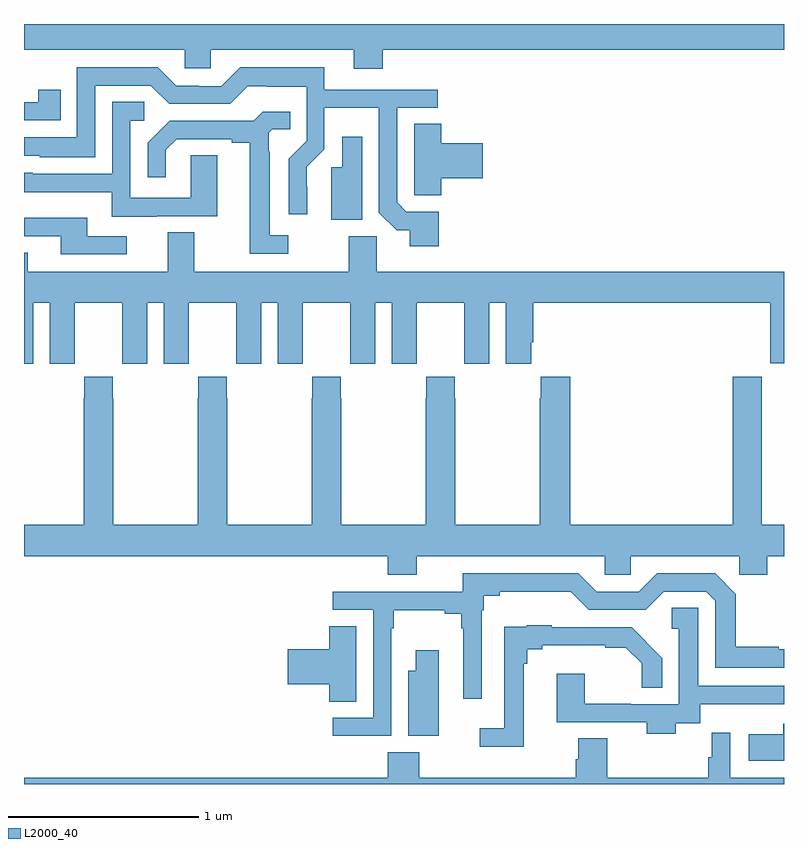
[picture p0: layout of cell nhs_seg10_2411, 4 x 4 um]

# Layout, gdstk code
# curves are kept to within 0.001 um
import gdstk
lib = gdstk.Library(unit=1e-6, precision=1e-09)
def P(c, l, *ps):  # polygons
    for p in ps: c.add(gdstk.Polygon(p, *l))
L2000_40 = (2000, 40)

nhs_seg10_2411 = lib.new_cell('nhs_seg10_2411')
P(nhs_seg10_2411, L2000_40, [(242.888,1252.364),(245,1252.364),(245,1252.5),(241,1252.5),(241,1252.364),(241.845,1252.364),(241.845,1252.266),(241.983,1252.266),(241.983,1252.364),(242.735,1252.364),(242.735,1252.265),(242.888,1252.265)],
  [(243.182,1251.513),(243.012,1251.513),(242.964,1251.561),(242.964,1252.059),(243.178,1252.059),(243.178,1252.155),(242.581,1252.155),(242.581,1252.273),(242.137,1252.273),(242.037,1252.173),(241.92,1252.173),(241.92,1252.176),(241.8,1252.176),(241.704,1252.272),(241.278,1252.272),(241.278,1251.903),(241,1251.903),(241,1251.807),(241.083,1251.807),(241.083,1251.8),(241.374,1251.8),(241.374,1252.176),(241.668,1252.176),(241.764,1252.08),(242.085,1252.08),(242.178,1252.173),(242.278,1252.173),(242.278,1252.169),(242.487,1252.169),(242.487,1251.885),(242.394,1251.792),(242.394,1251.498),(242.49,1251.498),(242.489,1251.75),(242.58,1251.842),(242.58,1252.058),(242.868,1252.058),(242.868,1251.507),(242.961,1251.415),(243.029,1251.415),(243.029,1251.33),(243.182,1251.33)],
  [(241.193,1252.153),(241.075,1252.153),(241.075,1252.089),(241,1252.089),(241,1251.993),(241.193,1251.993)],
  [(241.699,1251.489),(242.017,1251.489),(242.017,1251.809),(241.878,1251.809),(241.878,1251.585),(241.56,1251.585),(241.56,1251.99),(241.633,1251.99),(241.633,1252.091),(241.464,1252.091),(241.464,1251.711),(241.047,1251.711),(241.047,1251.717),(241,1251.717),(241,1251.614),(241.463,1251.614),(241.463,1251.485),(241.699,1251.485)],
  [(242.392,1251.387),(242.293,1251.387),(242.293,1251.827),(242.289,1251.827),(242.289,1251.927),(242.307,1251.945),(242.402,1251.945),(242.402,1252.037),(242.256,1252.037),(242.208,1251.99),(241.766,1251.99),(241.65,1251.874),(241.65,1251.693),(241.747,1251.693),(241.747,1251.837),(241.804,1251.894),(242.093,1251.894),(242.093,1251.874),(242.189,1251.874),(242.189,1251.291),(242.392,1251.291)],
  [(243.197,1251.689),(243.415,1251.689),(243.415,1251.872),(243.197,1251.872),(243.197,1251.974),(243.053,1251.974),(243.053,1251.706),(243.054,1251.706),(243.054,1251.598),(243.197,1251.598)],
  [(242.779,1251.907),(242.675,1251.907),(242.675,1251.747),(242.618,1251.747),(242.618,1251.469),(242.779,1251.469)],
  [(241.54,1251.384),(241.333,1251.384),(241.333,1251.481),(241,1251.481),(241,1251.384),(241.193,1251.384),(241.193,1251.288),(241.54,1251.288)],
  [(241.048,1251.032),(241.136,1251.032),(241.136,1250.712),(241.266,1250.712),(241.266,1250.824),(241.267,1250.824),(241.267,1251.032),(241.517,1251.032),(241.517,1250.824),(241.518,1250.824),(241.518,1250.712),(241.648,1250.712),(241.648,1251.032),(241.736,1251.032),(241.736,1250.712),(241.866,1250.712),(241.866,1250.824),(241.867,1250.824),(241.867,1251.032),(242.117,1251.032),(242.117,1250.824),(242.118,1250.824),(242.118,1250.712),(242.248,1250.712),(242.248,1251.032),(242.336,1251.032),(242.336,1250.712),(242.466,1250.712),(242.466,1250.824),(242.467,1250.824),(242.467,1251.032),(242.717,1251.032),(242.717,1250.824),(242.718,1250.824),(242.718,1250.712),(242.848,1250.712),(242.848,1251.032),(242.936,1251.032),(242.936,1250.712),(243.066,1250.712),(243.066,1250.824),(243.067,1250.824),(243.067,1251.032),(243.317,1251.032),(243.317,1250.824),(243.318,1250.824),(243.318,1250.712),(243.448,1250.712),(243.448,1251.032),(243.536,1251.032),(243.536,1250.712),(243.67,1250.712),(243.67,1250.824),(243.68,1250.824),(243.68,1251.032),(244.928,1251.032),(244.928,1250.715),(245,1250.715),(245,1251.196),(242.856,1251.196),(242.856,1251.384),(242.71,1251.384),(242.71,1251.196),(241.897,1251.196),(241.897,1251.404),(241.757,1251.404),(241.757,1251.196),(241.021,1251.196),(241.021,1251.295),(241,1251.295),(241,1250.712),(241.048,1250.712)],
  [(243.067,1249.7),(244.056,1249.7),(244.056,1249.602),(244.194,1249.602),(244.194,1249.7),(244.765,1249.7),(244.765,1249.602),(244.911,1249.602),(244.911,1249.7),(245,1249.7),(245,1249.864),(244.882,1249.864),(244.882,1250.643),(244.73,1250.643),(244.73,1249.864),(243.875,1249.864),(243.875,1250.644),(243.721,1250.644),(243.721,1250.531),(243.715,1250.531),(243.715,1249.864),(243.27,1249.864),(243.27,1250.531),(243.267,1250.531),(243.267,1250.644),(243.117,1250.644),(243.117,1250.531),(243.115,1250.531),(243.115,1249.864),(242.67,1249.864),(242.67,1250.531),(242.667,1250.531),(242.667,1250.644),(242.517,1250.644),(242.517,1250.531),(242.515,1250.531),(242.515,1249.864),(242.07,1249.864),(242.07,1250.531),(242.067,1250.531),(242.067,1250.644),(241.917,1250.644),(241.917,1250.531),(241.915,1250.531),(241.915,1249.864),(241.47,1249.864),(241.47,1250.531),(241.467,1250.531),(241.467,1250.644),(241.317,1250.644),(241.317,1250.531),(241.315,1250.531),(241.315,1249.864),(241,1249.864),(241,1249.7),(242.915,1249.7),(242.915,1249.601),(243.067,1249.601)],
  [(242.934,1249.319),(242.947,1249.319),(242.947,1249.415),(243.215,1249.415),(243.215,1249.396),(243.3,1249.396),(243.3,1249.319),(243.312,1249.319),(243.312,1248.948),(243.408,1248.948),(243.408,1249.415),(243.421,1249.415),(243.421,1249.492),(243.505,1249.492),(243.505,1249.511),(243.877,1249.511),(243.972,1249.416),(244.272,1249.416),(244.368,1249.512),(244.59,1249.512),(244.638,1249.464),(244.638,1249.113),(245,1249.113),(245,1249.209),(244.973,1249.209),(244.973,1249.222),(244.747,1249.222),(244.747,1249.499),(244.638,1249.608),(244.332,1249.608),(244.236,1249.512),(244.014,1249.512),(243.918,1249.608),(243.31,1249.608),(243.31,1249.512),(242.625,1249.512),(242.625,1249.416),(242.838,1249.416),(242.838,1248.849),(242.625,1248.849),(242.625,1248.753),(242.934,1248.753)],
  [(244.429,1248.821),(244.558,1248.821),(244.558,1248.92),(244.827,1248.92),(244.827,1248.921),(245,1248.921),(245,1249.017),(244.549,1249.017),(244.549,1249.319),(244.548,1249.319),(244.548,1249.427),(244.41,1249.427),(244.41,1249.316),(244.445,1249.316),(244.445,1248.921),(244.193,1248.921),(244.193,1248.923),(243.951,1248.923),(243.951,1249.081),(243.803,1249.081),(243.803,1248.825),(244.277,1248.825),(244.277,1248.764),(244.429,1248.764)],
  [(243.631,1249.133),(243.649,1249.133),(243.649,1249.21),(243.727,1249.21),(243.727,1249.229),(244.058,1249.229),(244.058,1249.218),(244.167,1249.218),(244.251,1249.135),(244.251,1249.006),(244.36,1249.006),(244.36,1249.163),(244.276,1249.246),(244.277,1249.247),(244.198,1249.326),(243.777,1249.326),(243.777,1249.336),(243.645,1249.336),(243.645,1249.328),(243.527,1249.328),(243.527,1248.793),(243.399,1248.793),(243.399,1248.695),(243.631,1248.695)],
  [(242.749,1249.331),(242.606,1249.331),(242.606,1249.208),(242.388,1249.208),(242.388,1249.025),(242.606,1249.025),(242.606,1248.934),(242.749,1248.934)],
  [(243.184,1249.204),(243.062,1249.204),(243.062,1249.096),(243.023,1249.096),(243.023,1248.753),(243.184,1248.753)],
  [(245,1248.816),(244.997,1248.816),(244.997,1248.763),(244.815,1248.763),(244.815,1248.623),(245,1248.623)],
  [(245,1248.532),(244.716,1248.532),(244.716,1248.769),(244.619,1248.769),(244.619,1248.642),(244.6,1248.642),(244.6,1248.532),(244.07,1248.532),(244.07,1248.74),(243.917,1248.74),(243.917,1248.63),(243.905,1248.63),(243.905,1248.532),(243.08,1248.532),(243.08,1248.667),(242.915,1248.667),(242.915,1248.532),(241,1248.532),(241,1248.5),(245,1248.5)])

lib.write_gds('nhs_seg10_2411.gds')
